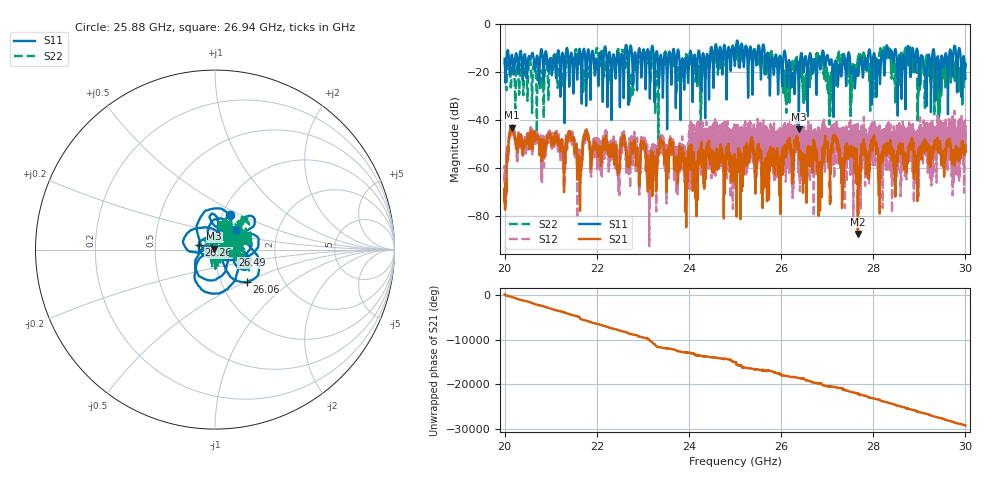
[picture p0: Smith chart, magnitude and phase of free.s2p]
#  HZ  S  RI  R  50.00
! Rohde & Schwarz ZVA40 4Ports - Version 3.90 - 1145.1110k42 SN: 100403
! Date: 2023-09-21 06:59:51
! Measurements: S11 S21 S12 S22
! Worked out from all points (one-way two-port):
!   5000 points, 20 GHz to 30 GHz, reference 50 ohm
!   highest |S21| = -43.31 dB at 20.16 GHz (marker M1); lowest = -87.7 dB at 27.67 GHz (marker M2)
!   lowest |S11| = -43.9 dB at 26.39 GHz (marker M3), VSWR 1.01, Z = 49.6 + j0.477 ohm
!   |S11| at or under -10 dB: start of sweep to 21.35 GHz; 23.22 GHz to 24.47 GHz (1.255 GHz wide, 5.26 % of centre); 25.63 GHz to 28.28 GHz (2.644 GHz wide, 9.81 % of centre) (the widest 3 of 22)
!   |S22| runs from -50.2 to -9.0 dB; largest |S21 - S12| = 0.015
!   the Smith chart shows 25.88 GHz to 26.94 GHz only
!   S11 on the Smith chart (normalised r, x): 25.88 GHz: 1.09, +0.44; 26.06 GHz: 1.31, -0.51; 26.26 GHz: 0.84, +0.05; 26.49 GHz: 1.21, -0.07; 26.94 GHz: 1.23, +0.28
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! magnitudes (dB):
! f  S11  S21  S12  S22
! 20 GHz  -14.5  -68.9  -65.4  -15.5
! 20.16 GHz  -12.8  -43.3  -42.8  -18.5
! 21.67 GHz  -25.0  -56.9  -54.1  -14.5
! 21.77 GHz  -33.9  -45.0  -44.6  -24.9
! 22.51 GHz  -22.2  -53.2  -50.9  -15.2
! 22.75 GHz  -9.8  -52.2  -48.0  -21.2
! 23.02 GHz  -11.0  -49.5  -49.8  -11.1
! 23.33 GHz  -18.5  -54.6  -56.1  -43.7
! 25 GHz  -16.7  -61.9  -46.6  -15.6
! 25.88 GHz  -13.5  -56.9  -54.1  -14.5
! 26.06 GHz  -12.0  -55.1  -55.9  -23.0
! 26.26 GHz  -20.6  -63.9  -50.0  -16.5
! 26.39 GHz  -43.9  -52.0  -43.1  -19.0
! 26.49 GHz  -19.9  -65.1  -51.1  -33.0
! 26.67 GHz  -17.7  -51.6  -44.5  -15.7
! 26.84 GHz  -16.4  -62.9  -58.6  -17.0
! 26.94 GHz  -15.8  -50.6  -42.4  -20.1
! 27.67 GHz  -21.3  -87.7  -53.8  -15.5
! 27.97 GHz  -33.6  -50.6  -51.2  -24.2
! 28.33 GHz  -12.7  -51.9  -41.0  -10.4
! 29.43 GHz  -19.5  -53.7  -39.9  -38.1
! 30 GHz  -23.0  -53.0  -52.1  -18.7
